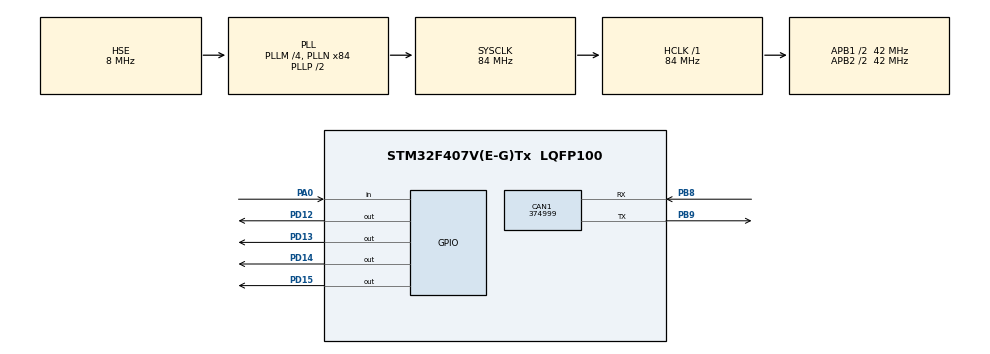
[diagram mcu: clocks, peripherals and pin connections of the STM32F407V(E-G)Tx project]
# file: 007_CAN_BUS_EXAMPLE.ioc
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CAN1.BS1=CAN_BS1_4TQ
CAN1.BS2=CAN_BS2_2TQ
CAN1.CalculateBaudRate=374999
CAN1.CalculateTimeBit=2666
CAN1.CalculateTimeQuantum=380.95238095238096
Mcu.Family=STM32F4
Mcu.Name=STM32F407V(E-G)Tx
Mcu.Package=LQFP100
NVIC.CAN1_RX0_IRQn=true\:0\:0\:false\:false\:true\:true\:true
NVIC.PriorityGroup=NVIC_PRIORITYGROUP_0
PA0-WKUP.Signal=GPIO_Input
PB8.Mode=CAN_Activate
PB8.Signal=CAN1_RX
PB9.Mode=CAN_Activate
PB9.Signal=CAN1_TX
PD12.Signal=GPIO_Output
PD13.Signal=GPIO_Output
PD14.Signal=GPIO_Output
PD15.Signal=GPIO_Output
PH0-OSC_IN.Mode=HSE-External-Oscillator
PH0-OSC_IN.Signal=RCC_OSC_IN
PH1-OSC_OUT.Mode=HSE-External-Oscillator
PH1-OSC_OUT.Signal=RCC_OSC_OUT
ProjectManager.HeapSize=0x200
ProjectManager.StackSize=0x400
ProjectManager.TargetToolchain=STM32CubeIDE
RCC.48MHZClocksFreq_Value=24000000
RCC.AHBFreq_Value=84000000
RCC.APB1CLKDivider=RCC_HCLK_DIV2
RCC.APB1Freq_Value=42000000
RCC.APB1TimFreq_Value=84000000
RCC.APB2CLKDivider=RCC_HCLK_DIV2
RCC.APB2Freq_Value=42000000
RCC.APB2TimFreq_Value=84000000
RCC.CortexFreq_Value=84000000
RCC.HCLKFreq_Value=84000000
RCC.HSE_VALUE=8000000
RCC.HSI_VALUE=16000000
RCC.LSE_VALUE=32768
RCC.PLLM=4
RCC.PLLN=84
RCC.PLLQ=7
RCC.PLLSourceVirtual=RCC_PLLSOURCE_HSE
RCC.SYSCLKFreq_VALUE=84000000
RCC.SYSCLKSource=RCC_SYSCLKSOURCE_PLLCLK
RCC.VCOOutputFreq_Value=168000000
board=STM32F407G-DISC1

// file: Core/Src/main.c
/* USER CODE BEGIN Header */
/**
  ******************************************************************************
  * @file           : main.c
  * @brief          : Main program body
  ******************************************************************************
  * @attention
  *
  * Copyright (c) 2022 STMicroelectronics.
  * All rights reserved.
  *
  * This software is licensed under terms that can be found in the LICENSE file
  * in the root directory of this software component.
  * If no LICENSE file comes with this software, it is provided AS-IS.
  *
  ******************************************************************************
  */
/* USER CODE END Header */
#include "main.h"

CAN_HandleTypeDef hcan1;

/* USER CODE BEGIN PV */
//Tx and Rx Message structure/typdef
static CAN_RxHeaderTypeDef RxHeader;
static CAN_TxHeaderTypeDef TxHeader;

//Own and Remote IDs
uint16_t OwnID = 0x123;
uint16_t RemoteID = 0x124;

uint8_t myLEDVar = 0;
/* USER CODE END PV */

void SystemClock_Config(void);
static void MX_GPIO_Init(void);
static void MX_CAN1_Init(void);
/* USER CODE BEGIN PFP */
void CAN_filterConfig(void);

void LED_Switch(uint8_t led);
/* USER CODE END PFP */

int main(void)
{

  /* MCU Configuration--------------------------------------------------------*/

  /* Reset of all peripherals, Initializes the Flash interface and the Systick. */
  HAL_Init();

  /* Configure the system clock */
  SystemClock_Config();

  /* Initialize all configured peripherals */
  MX_GPIO_Init();
  MX_CAN1_Init();
  /* USER CODE BEGIN 2 */
  CAN_filterConfig();
  __HAL_CAN_ENABLE_IT(&hcan1, CAN_RX_FIFO0);

  TxHeader.IDE = CAN_ID_STD;
  TxHeader.StdId = OwnID;
  TxHeader.RTR = CAN_RTR_DATA;
  TxHeader.DLC = 2;
  /* USER CODE END 2 */

  /* Infinite loop */
  while (1)
  {

    /* USER CODE BEGIN 3 */
	  if(HAL_GPIO_ReadPin(GPIOA, GPIO_PIN_0) == GPIO_PIN_SET)
	  		{
	  			//Transmit CAN packet
	  			if(myLEDVar == 4) myLEDVar=0;
	  			LED_Switch(++myLEDVar);
	  			hcan1.Instance->sTxMailBox[0] = myLEDVar;
	  			hcan1.Instance->sTxMailBox[0] = 0x12;
	  			//hcan1.pTxMsg->Data[0] = myLEDVar;
	  			//hcan1.pTxMsg->Data[1] = 0x12;
	  			HAL_CAN_Transmit(&hcan1, 20);
	  			hcan1.Instance->
	  			HAL_Delay(200);
	  		}
  }
  /* USER CODE END 3 */
}

void SystemClock_Config(void)
{
  RCC_OscInitTypeDef RCC_OscInitStruct = {0};
  RCC_ClkInitTypeDef RCC_ClkInitStruct = {0};

  /** Configure the main internal regulator output voltage
  */
  __HAL_RCC_PWR_CLK_ENABLE();
  __HAL_PWR_VOLTAGESCALING_CONFIG(PWR_REGULATOR_VOLTAGE_SCALE1);
  /** Initializes the RCC Oscillators according to the specified parameters
  * in the RCC_OscInitTypeDef structure.
  */
  RCC_OscInitStruct.OscillatorType = RCC_OSCILLATORTYPE_HSE;
  RCC_OscInitStruct.HSEState = RCC_HSE_ON;
  RCC_OscInitStruct.PLL.PLLState = RCC_PLL_ON;
  RCC_OscInitStruct.PLL.PLLSource = RCC_PLLSOURCE_HSE;
  RCC_OscInitStruct.PLL.PLLM = 4;
  RCC_OscInitStruct.PLL.PLLN = 84;
  RCC_OscInitStruct.PLL.PLLP = RCC_PLLP_DIV2;
  RCC_OscInitStruct.PLL.PLLQ = 7;
  if (HAL_RCC_OscConfig(&RCC_OscInitStruct) != HAL_OK)
  {
    Error_Handler();
  }
  /** Initializes the CPU, AHB and APB buses clocks
  */
  RCC_ClkInitStruct.ClockType = RCC_CLOCKTYPE_HCLK|RCC_CLOCKTYPE_SYSCLK
                              |RCC_CLOCKTYPE_PCLK1|RCC_CLOCKTYPE_PCLK2;
  RCC_ClkInitStruct.SYSCLKSource = RCC_SYSCLKSOURCE_PLLCLK;
  RCC_ClkInitStruct.AHBCLKDivider = RCC_SYSCLK_DIV1;
  RCC_ClkInitStruct.APB1CLKDivider = RCC_HCLK_DIV2;
  RCC_ClkInitStruct.APB2CLKDivider = RCC_HCLK_DIV2;

  if (HAL_RCC_ClockConfig(&RCC_ClkInitStruct, FLASH_LATENCY_2) != HAL_OK)
  {
    Error_Handler();
  }
}

static void MX_CAN1_Init(void)
{

  hcan1.Instance = CAN1;
  hcan1.Init.Prescaler = 16;
  hcan1.Init.Mode = CAN_MODE_NORMAL;
  hcan1.Init.SyncJumpWidth = CAN_SJW_1TQ;
  hcan1.Init.TimeSeg1 = CAN_BS1_4TQ;
  hcan1.Init.TimeSeg2 = CAN_BS2_2TQ;
  hcan1.Init.TimeTriggeredMode = DISABLE;
  hcan1.Init.AutoBusOff = DISABLE;
  hcan1.Init.AutoWakeUp = DISABLE;
  hcan1.Init.AutoRetransmission = DISABLE;
  hcan1.Init.ReceiveFifoLocked = DISABLE;
  hcan1.Init.TransmitFifoPriority = DISABLE;
  if (HAL_CAN_Init(&hcan1) != HAL_OK)
  {
    Error_Handler();
  }

}

static void MX_GPIO_Init(void)
{
  GPIO_InitTypeDef GPIO_InitStruct = {0};

  /* GPIO Ports Clock Enable */
  __HAL_RCC_GPIOH_CLK_ENABLE();
  __HAL_RCC_GPIOA_CLK_ENABLE();
  __HAL_RCC_GPIOD_CLK_ENABLE();
  __HAL_RCC_GPIOB_CLK_ENABLE();

  /*Configure GPIO pin Output Level */
  HAL_GPIO_WritePin(GPIOD, GPIO_PIN_12|GPIO_PIN_13|GPIO_PIN_14|GPIO_PIN_15, GPIO_PIN_RESET);

  /*Configure GPIO pin : PA0 */
  GPIO_InitStruct.Pin = GPIO_PIN_0;
  GPIO_InitStruct.Mode = GPIO_MODE_INPUT;
  GPIO_InitStruct.Pull = GPIO_NOPULL;
  HAL_GPIO_Init(GPIOA, &GPIO_InitStruct);

  /*Configure GPIO pins : PD12 PD13 PD14 PD15 */
  GPIO_InitStruct.Pin = GPIO_PIN_12|GPIO_PIN_13|GPIO_PIN_14|GPIO_PIN_15;
  GPIO_InitStruct.Mode = GPIO_MODE_OUTPUT_PP;
  GPIO_InitStruct.Pull = GPIO_NOPULL;
  GPIO_InitStruct.Speed = GPIO_SPEED_FREQ_LOW;
  HAL_GPIO_Init(GPIOD, &GPIO_InitStruct);

}

/* USER CODE BEGIN 4 */
void CAN_filterConfig(void)
{
	CAN_FilterTypeDef filterConfig;

	filterConfig.FilterBank = 14;
	filterConfig.FilterActivation = ENABLE;
	filterConfig.FilterFIFOAssignment = 0;
	filterConfig.FilterIdHigh = 0x125 << 5;
	filterConfig.FilterIdLow = 0x0000;
	filterConfig.FilterMaskIdHigh = 0xFFE0;  //if(Mask & 0x124 == 0x124) --> Alow
	filterConfig.FilterMaskIdLow = 0x0000;
	filterConfig.FilterMode = CAN_FILTERMODE_IDMASK;
	//filterConfig.SlaveStartFilterBank = 1;
	filterConfig.FilterScale = CAN_FILTERSCALE_32BIT;

	HAL_CAN_ConfigFilter(&hcan1, &filterConfig);
}
void LED_Switch(uint8_t led)
{
	/* Turn off all LEDs */
	HAL_GPIO_WritePin(GPIOD, GPIO_PIN_12, GPIO_PIN_RESET);
	HAL_GPIO_WritePin(GPIOD, GPIO_PIN_13, GPIO_PIN_RESET);
	HAL_GPIO_WritePin(GPIOD, GPIO_PIN_14, GPIO_PIN_RESET);
	HAL_GPIO_WritePin(GPIOD, GPIO_PIN_15, GPIO_PIN_RESET);

	  switch(led)
  {
    case(1):
      HAL_GPIO_WritePin(GPIOD, GPIO_PIN_12, GPIO_PIN_SET);
      break;

    case(2):
      HAL_GPIO_WritePin(GPIOD, GPIO_PIN_13, GPIO_PIN_SET);
      break;

    case(3):
      HAL_GPIO_WritePin(GPIOD, GPIO_PIN_14, GPIO_PIN_SET);
      break;

    case(4):
      HAL_GPIO_WritePin(GPIOD, GPIO_PIN_15, GPIO_PIN_SET);
      break;

    default:
      break;
  }
}

void HAL_CAN_RxCpltCallback(CAN_HandleTypeDef* hcan)
{
	if(hcan->pRxMsg->StdId == RemoteID)
	{
		myLEDVar = hcan->pRxMsg->Data[0];
		LED_Switch(myLEDVar);
	}

	//Start listening another CAN packet
	HAL_CAN_Receive_IT(&hcan1, CAN_FIFO0);
}
/* USER CODE END 4 */

void Error_Handler(void)
{
  __disable_irq();
  while (1)
  {
  }
}
